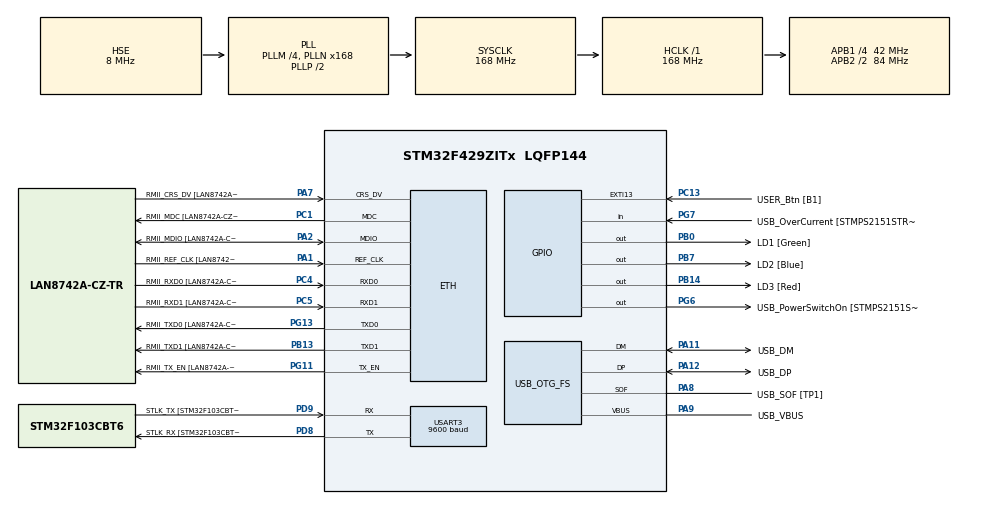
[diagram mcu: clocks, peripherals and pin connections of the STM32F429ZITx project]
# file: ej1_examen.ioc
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ETH.MediaInterface=HAL_ETH_RMII_MODE
ETH.PHY_Name=LAN8742A_PHY_ADDRESS
ETH.PHY_Value=0
ETH.PhyAddress=0
Mcu.Family=STM32F4
Mcu.Name=STM32F429ZITx
Mcu.Package=LQFP144
NVIC.PriorityGroup=NVIC_PRIORITYGROUP_4
PA1.GPIO_Label=RMII_REF_CLK [LAN8742A-CZ-TR_REFCLK0]
PA1.Mode=RMII
PA1.Signal=ETH_REF_CLK
PA10.GPIO_Label=USB_ID
PA10.Signal=USB_OTG_FS_ID
PA11.GPIO_Label=USB_DM
PA11.Mode=Device_Only
PA11.Signal=USB_OTG_FS_DM
PA12.GPIO_Label=USB_DP
PA12.Mode=Device_Only
PA12.Signal=USB_OTG_FS_DP
PA13.GPIO_Label=TMS
PA13.Mode=Serial_Wire
PA13.Signal=SYS_JTMS-SWDIO
PA14.GPIO_Label=TCK
PA14.Mode=Serial_Wire
PA14.Signal=SYS_JTCK-SWCLK
PA2.GPIO_Label=RMII_MDIO [LAN8742A-CZ-TR_MDIO]
PA2.Mode=RMII
PA2.Signal=ETH_MDIO
PA7.GPIO_Label=RMII_CRS_DV [LAN8742A-CZ-TR_CRS_DV]
PA7.Mode=RMII
PA7.Signal=ETH_CRS_DV
PA8.GPIO_Label=USB_SOF [TP1]
PA8.Mode=Activate_SOF_FS
PA8.Signal=USB_OTG_FS_SOF
PA9.GPIO_Label=USB_VBUS
PA9.Mode=Activate_VBUS
PA9.Signal=USB_OTG_FS_VBUS
PB0.GPIO_Label=LD1 [Green]
PB0.Signal=GPIO_Output
PB13.GPIO_Label=RMII_TXD1 [LAN8742A-CZ-TR_TXD1]
PB13.Mode=RMII
PB13.Signal=ETH_TXD1
PB14.GPIO_Label=LD3 [Red]
PB14.Signal=GPIO_Output
PB7.GPIO_Label=LD2 [Blue]
PB7.Signal=GPIO_Output
PC1.GPIO_Label=RMII_MDC [LAN8742A-CZ-TR_MDC]
PC1.Mode=RMII
PC1.Signal=ETH_MDC
PC13.GPIO_Label=USER_Btn [B1]
PC13.Signal=GPXTI13
PC14/OSC32_IN.Mode=LSE-External-Oscillator
PC14/OSC32_IN.Signal=RCC_OSC32_IN
PC15/OSC32_OUT.Mode=LSE-External-Oscillator
PC15/OSC32_OUT.Signal=RCC_OSC32_OUT
PC4.GPIO_Label=RMII_RXD0 [LAN8742A-CZ-TR_RXD0]
PC4.Mode=RMII
PC4.Signal=ETH_RXD0
PC5.GPIO_Label=RMII_RXD1 [LAN8742A-CZ-TR_RXD1]
PC5.Mode=RMII
PC5.Signal=ETH_RXD1
PD8.GPIO_Label=STLK_RX [STM32F103CBT6_PA3]
PD8.Mode=Asynchronous
PD8.Signal=USART3_TX
PD9.GPIO_Label=STLK_TX [STM32F103CBT6_PA2]
PD9.Mode=Asynchronous
PD9.Signal=USART3_RX
PG11.GPIO_Label=RMII_TX_EN [LAN8742A-CZ-TR_TXEN]
PG11.Mode=RMII
PG11.Signal=ETH_TX_EN
PG13.GPIO_Label=RMII_TXD0 [LAN8742A-CZ-TR_TXD0]
PG13.Mode=RMII
PG13.Signal=ETH_TXD0
PG6.GPIO_Label=USB_PowerSwitchOn [STMPS2151STR_EN]
PG6.Signal=GPIO_Output
PG7.GPIO_Label=USB_OverCurrent [STMPS2151STR_FAULT]
PG7.Signal=GPIO_Input
PH0/OSC_IN.GPIO_Label=MCO [STM32F103CBT6_PA8]
PH0/OSC_IN.Mode=HSE-External-Clock-Source
PH0/OSC_IN.Signal=RCC_OSC_IN
PH1/OSC_OUT.Mode=HSE-External-Clock-Source
PH1/OSC_OUT.Signal=RCC_OSC_OUT
ProjectManager.HeapSize=0x200
ProjectManager.StackSize=0x400
ProjectManager.TargetToolchain=STM32CubeIDE
RCC.48MHZClocksFreq_Value=48000000
RCC.AHBFreq_Value=168000000
RCC.APB1CLKDivider=RCC_HCLK_DIV4
RCC.APB1Freq_Value=42000000
RCC.APB1TimFreq_Value=84000000
RCC.APB2CLKDivider=RCC_HCLK_DIV2
RCC.APB2Freq_Value=84000000
RCC.APB2TimCLKDivider=2
RCC.APB2TimFreq_Value=168000000
RCC.CortexFreq_Value=168000000
RCC.HCLKFreq_Value=168000000
RCC.HSE_VALUE=8000000
RCC.HSI_VALUE=16000000
RCC.PLLM=4
RCC.PLLMUL=RCC_PLL_MUL9
RCC.PLLN=168
RCC.PLLQ=7
RCC.PRESCALERUSB=RCC_USBCLKSOURCE_PLL_DIV1_5
RCC.SYSCLKFreq_VALUE=168000000
RCC.SYSCLKSource=RCC_SYSCLKSOURCE_PLLCLK
RCC.SYSCLKSourceVirtual=RCC_SYSCLKSOURCE_PLLCLK
RCC.USBFreq_Value=48000000
RCC.VCOOutputFreq_Value=336000000
USART3.BaudRate=9600
USART3.VirtualMode=VM_ASYNC
USB_OTG_FS.VirtualMode=Device_Only
board=NUCLEO-F429ZI

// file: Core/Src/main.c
/* USER CODE BEGIN Header */
/**
  ******************************************************************************
  * @file           : main.c
  * @brief          : Main program body
  ******************************************************************************
  * @attention
  *
  * Copyright (c) 2025 STMicroelectronics.
  * All rights reserved.
  *
  * This software is licensed under terms that can be found in the LICENSE file
  * in the root directory of this software component.
  * If no LICENSE file comes with this software, it is provided AS-IS.
  *
  ******************************************************************************
  */
/* USER CODE END Header */
#include "main.h"
#include "string.h"

/* USER CODE BEGIN PD */
#define DELAY 100
/* USER CODE END PD */

ETH_TxPacketConfig TxConfig;
ETH_DMADescTypeDef  DMARxDscrTab[ETH_RX_DESC_CNT]; /* Ethernet Rx DMA Descriptors */
ETH_DMADescTypeDef  DMATxDscrTab[ETH_TX_DESC_CNT]; /* Ethernet Tx DMA Descriptors */

ETH_HandleTypeDef heth;

UART_HandleTypeDef huart3;

PCD_HandleTypeDef hpcd_USB_OTG_FS;

void SystemClock_Config(void);
static void MX_GPIO_Init(void);
static void MX_ETH_Init(void);
static void MX_USART3_UART_Init(void);
static void MX_USB_OTG_FS_PCD_Init(void);

int main(void)
{

  /* MCU Configuration--------------------------------------------------------*/

  /* Reset of all peripherals, Initializes the Flash interface and the Systick. */
  HAL_Init();

  /* Configure the system clock */
  SystemClock_Config();

  /* Initialize all configured peripherals */
  MX_GPIO_Init();
  MX_ETH_Init();
  MX_USART3_UART_Init();
  MX_USB_OTG_FS_PCD_Init();
  /* USER CODE BEGIN 2 */
  int contador = -1;
  int button_pressed = -1;
  int last_contador = -1;
  uint8_t numero[]=" El numero es: ";
  uint8_t factorial[]=" Su Factorial es: \n\r";
  /* USER CODE END 2 */

  /* Infinite loop */
  /* USER CODE BEGIN WHILE */
  while (1)
  {
	  if (HAL_GPIO_ReadPin(GPIOC, GPIO_PIN_13) == GPIO_PIN_RESET) {
	  	if (!button_pressed) {
	  		contador++;
	  		HAL_Delay(DELAY);
	  		if (contador > 6) {
	  			contador = 0;
	  		}
	  		button_pressed = 1;
	  	}
	  } else {
	  	button_pressed = 0;
	  }
	  // Solo ejecutar si hay un cambio en el contador
	  if (contador != last_contador) {
		  last_contador = contador; // Actualiza el último estado impreso
		  switch (contador) {
		  	  case 0:
	  			  HAL_UART_Transmit(&huart3, numero, strlen(numero), HAL_MAX_DELAY);
	  			  print_number(contador);
	  			  HAL_UART_Transmit(&huart3, factorial, strlen(factorial), HAL_MAX_DELAY);
	  			  mostrar_en_leds(contador);
	  			  print_factorial(contador);
	  			  break;
		  	  case 1:
	  			  HAL_UART_Transmit(&huart3, numero, strlen(numero), HAL_MAX_DELAY);
	  			  print_number(contador);
	  			  HAL_UART_Transmit(&huart3, factorial, strlen(factorial), HAL_MAX_DELAY);
	  			  print_factorial(contador);
	  			  mostrar_en_leds(contador);
	  			  break;
		  	  case 2:
	  			  HAL_UART_Transmit(&huart3, numero, strlen(numero), HAL_MAX_DELAY);
	  			  print_number(contador);
	  			  HAL_UART_Transmit(&huart3, factorial, strlen(factorial), HAL_MAX_DELAY);
	  			  print_factorial(contador);
	  			  mostrar_en_leds(contador);
	  			  break;
		  	  case 3:
	  			  HAL_UART_Transmit(&huart3, numero, strlen(numero), HAL_MAX_DELAY);
	  			  print_number(contador);
	  			  HAL_UART_Transmit(&huart3, factorial, strlen(factorial), HAL_MAX_DELAY);
	  			  print_factorial(contador);
	  			  mostrar_en_leds(contador);
	  			  break;
		  	  case 4:
	  			  HAL_UART_Transmit(&huart3, numero, strlen(numero), HAL_MAX_DELAY);
	  			  print_number(contador);
	  			  HAL_UART_Transmit(&huart3, factorial, strlen(factorial), HAL_MAX_DELAY);
	  			  print_factorial(contador);
	  			  mostrar_en_leds(contador);
	  			  break;
		  	  case 5:
	  			  HAL_UART_Transmit(&huart3, numero, strlen(numero), HAL_MAX_DELAY);
	  			  print_number(contador);
	  			  HAL_UART_Transmit(&huart3, factorial, strlen(factorial), HAL_MAX_DELAY);
	  			  print_factorial(contador);
	  			  mostrar_en_leds(contador);
	  			  break;
		  	  case 6:
	  			  HAL_UART_Transmit(&huart3, numero, strlen(numero), HAL_MAX_DELAY);
	  			  print_number(contador);
	  			  HAL_UART_Transmit(&huart3, factorial, strlen(factorial), HAL_MAX_DELAY);
	  			  print_factorial(contador);
	  			  mostrar_en_leds(contador);
	  			  break;
		  }
	  	}

    /* USER CODE END WHILE */

  }
}

void SystemClock_Config(void)
{
  RCC_OscInitTypeDef RCC_OscInitStruct = {0};
  RCC_ClkInitTypeDef RCC_ClkInitStruct = {0};

  /** Configure the main internal regulator output voltage
  */
  __HAL_RCC_PWR_CLK_ENABLE();
  __HAL_PWR_VOLTAGESCALING_CONFIG(PWR_REGULATOR_VOLTAGE_SCALE1);

  /** Initializes the RCC Oscillators according to the specified parameters
  * in the RCC_OscInitTypeDef structure.
  */
  RCC_OscInitStruct.OscillatorType = RCC_OSCILLATORTYPE_HSE;
  RCC_OscInitStruct.HSEState = RCC_HSE_BYPASS;
  RCC_OscInitStruct.PLL.PLLState = RCC_PLL_ON;
  RCC_OscInitStruct.PLL.PLLSource = RCC_PLLSOURCE_HSE;
  RCC_OscInitStruct.PLL.PLLM = 4;
  RCC_OscInitStruct.PLL.PLLN = 168;
  RCC_OscInitStruct.PLL.PLLP = RCC_PLLP_DIV2;
  RCC_OscInitStruct.PLL.PLLQ = 7;
  if (HAL_RCC_OscConfig(&RCC_OscInitStruct) != HAL_OK)
  {
    Error_Handler();
  }

  /** Initializes the CPU, AHB and APB buses clocks
  */
  RCC_ClkInitStruct.ClockType = RCC_CLOCKTYPE_HCLK|RCC_CLOCKTYPE_SYSCLK
                              |RCC_CLOCKTYPE_PCLK1|RCC_CLOCKTYPE_PCLK2;
  RCC_ClkInitStruct.SYSCLKSource = RCC_SYSCLKSOURCE_PLLCLK;
  RCC_ClkInitStruct.AHBCLKDivider = RCC_SYSCLK_DIV1;
  RCC_ClkInitStruct.APB1CLKDivider = RCC_HCLK_DIV4;
  RCC_ClkInitStruct.APB2CLKDivider = RCC_HCLK_DIV2;

  if (HAL_RCC_ClockConfig(&RCC_ClkInitStruct, FLASH_LATENCY_5) != HAL_OK)
  {
    Error_Handler();
  }
}

static void MX_ETH_Init(void)
{

   static uint8_t MACAddr[6];

  heth.Instance = ETH;
  MACAddr[0] = 0x00;
  MACAddr[1] = 0x80;
  MACAddr[2] = 0xE1;
  MACAddr[3] = 0x00;
  MACAddr[4] = 0x00;
  MACAddr[5] = 0x00;
  heth.Init.MACAddr = &MACAddr[0];
  heth.Init.MediaInterface = HAL_ETH_RMII_MODE;
  heth.Init.TxDesc = DMATxDscrTab;
  heth.Init.RxDesc = DMARxDscrTab;
  heth.Init.RxBuffLen = 1524;

  if (HAL_ETH_Init(&heth) != HAL_OK)
  {
    Error_Handler();
  }

  memset(&TxConfig, 0 , sizeof(ETH_TxPacketConfig));
  TxConfig.Attributes = ETH_TX_PACKETS_FEATURES_CSUM | ETH_TX_PACKETS_FEATURES_CRCPAD;
  TxConfig.ChecksumCtrl = ETH_CHECKSUM_IPHDR_PAYLOAD_INSERT_PHDR_CALC;
  TxConfig.CRCPadCtrl = ETH_CRC_PAD_INSERT;

}

static void MX_USART3_UART_Init(void)
{

  huart3.Instance = USART3;
  huart3.Init.BaudRate = 9600;
  huart3.Init.WordLength = UART_WORDLENGTH_8B;
  huart3.Init.StopBits = UART_STOPBITS_1;
  huart3.Init.Parity = UART_PARITY_NONE;
  huart3.Init.Mode = UART_MODE_TX_RX;
  huart3.Init.HwFlowCtl = UART_HWCONTROL_NONE;
  huart3.Init.OverSampling = UART_OVERSAMPLING_16;
  if (HAL_UART_Init(&huart3) != HAL_OK)
  {
    Error_Handler();
  }

}

static void MX_USB_OTG_FS_PCD_Init(void)
{

  hpcd_USB_OTG_FS.Instance = USB_OTG_FS;
  hpcd_USB_OTG_FS.Init.dev_endpoints = 4;
  hpcd_USB_OTG_FS.Init.speed = PCD_SPEED_FULL;
  hpcd_USB_OTG_FS.Init.dma_enable = DISABLE;
  hpcd_USB_OTG_FS.Init.phy_itface = PCD_PHY_EMBEDDED;
  hpcd_USB_OTG_FS.Init.Sof_enable = ENABLE;
  hpcd_USB_OTG_FS.Init.low_power_enable = DISABLE;
  hpcd_USB_OTG_FS.Init.lpm_enable = DISABLE;
  hpcd_USB_OTG_FS.Init.vbus_sensing_enable = ENABLE;
  hpcd_USB_OTG_FS.Init.use_dedicated_ep1 = DISABLE;
  if (HAL_PCD_Init(&hpcd_USB_OTG_FS) != HAL_OK)
  {
    Error_Handler();
  }

}

static void MX_GPIO_Init(void)
{
  GPIO_InitTypeDef GPIO_InitStruct = {0};

  /* GPIO Ports Clock Enable */
  __HAL_RCC_GPIOC_CLK_ENABLE();
  __HAL_RCC_GPIOH_CLK_ENABLE();
  __HAL_RCC_GPIOA_CLK_ENABLE();
  __HAL_RCC_GPIOB_CLK_ENABLE();
  __HAL_RCC_GPIOD_CLK_ENABLE();
  __HAL_RCC_GPIOG_CLK_ENABLE();

  /*Configure GPIO pin Output Level */
  HAL_GPIO_WritePin(GPIOB, LD1_Pin|LD3_Pin|LD2_Pin, GPIO_PIN_RESET);

  /*Configure GPIO pin Output Level */
  HAL_GPIO_WritePin(USB_PowerSwitchOn_GPIO_Port, USB_PowerSwitchOn_Pin, GPIO_PIN_RESET);

  /*Configure GPIO pin : USER_Btn_Pin */
  GPIO_InitStruct.Pin = USER_Btn_Pin;
  GPIO_InitStruct.Mode = GPIO_MODE_IT_RISING;
  GPIO_InitStruct.Pull = GPIO_NOPULL;
  HAL_GPIO_Init(USER_Btn_GPIO_Port, &GPIO_InitStruct);

  /*Configure GPIO pins : LD1_Pin LD3_Pin LD2_Pin */
  GPIO_InitStruct.Pin = LD1_Pin|LD3_Pin|LD2_Pin;
  GPIO_InitStruct.Mode = GPIO_MODE_OUTPUT_PP;
  GPIO_InitStruct.Pull = GPIO_NOPULL;
  GPIO_InitStruct.Speed = GPIO_SPEED_FREQ_LOW;
  HAL_GPIO_Init(GPIOB, &GPIO_InitStruct);

  /*Configure GPIO pin : USB_PowerSwitchOn_Pin */
  GPIO_InitStruct.Pin = USB_PowerSwitchOn_Pin;
  GPIO_InitStruct.Mode = GPIO_MODE_OUTPUT_PP;
  GPIO_InitStruct.Pull = GPIO_NOPULL;
  GPIO_InitStruct.Speed = GPIO_SPEED_FREQ_LOW;
  HAL_GPIO_Init(USB_PowerSwitchOn_GPIO_Port, &GPIO_InitStruct);

  /*Configure GPIO pin : USB_OverCurrent_Pin */
  GPIO_InitStruct.Pin = USB_OverCurrent_Pin;
  GPIO_InitStruct.Mode = GPIO_MODE_INPUT;
  GPIO_InitStruct.Pull = GPIO_NOPULL;
  HAL_GPIO_Init(USB_OverCurrent_GPIO_Port, &GPIO_InitStruct);

}

/* USER CODE BEGIN 4 */
void print_number(int num) {

	char buffer[6];  // Soporta hasta 5 dígitos + '\0'
    int index = 0;

    num = num + 1;  // Sumar 1 al número antes de procesarlo
    do {
        buffer[index++] = (num % 10) + '0';
        num /= 10;
    } while (num > 0);

    // Invertir el buffer para obtener el número en el orden correcto
    for (int i = 0, j = index - 1; i < j; i++, j--) {
        char temp = buffer[i];
        buffer[i] = buffer[j];
        buffer[j] = temp;
    }

    buffer[index] = '\0';  // Terminar el string

    // Enviar el número por UART
    HAL_UART_Transmit(&huart3, (uint8_t*)buffer, index, HAL_MAX_DELAY);
    HAL_UART_Transmit(&huart3, (uint8_t*)"\r\n", 2, HAL_MAX_DELAY);
}

void print_factorial(int num) {
    int resultado = 1;
    for (int i = 1; i <= num+1; i++) {
        resultado *= i;
    }
    num = resultado;

    char buffer[6];  // Espacio para hasta 5 dígitos más el carácter nulo '\0'
    int index = 0;
    // Extraer los dígitos de num y almacenarlos en buffer en orden inverso
    do {
        buffer[index++] = (num % 10) + '0';  // Extraemos el último dígito y lo convertimos a carácter
        num = num / 10;  // Eliminamos el último dígito dividiendo entre 10
    } while (num > 0);  // Continuamos hasta que el número se reduzca a 0

    // Invertir el orden de los dígitos en buffer para obtener el número correcto
    for (int i = 0, j = index - 1; i < j; i++, j--) {
        char temp = buffer[i];
        buffer[i] = buffer[j];
        buffer[j] = temp;
    }
    buffer[index] = '\0';  // Agregar el carácter nulo para finalizar la cadena

    // Enviar el número por UART
    HAL_UART_Transmit(&huart3, (uint8_t*)buffer, index, HAL_MAX_DELAY);

    // Enviar nueva línea
    HAL_UART_Transmit(&huart3, (uint8_t*)"\r\n", 2, HAL_MAX_DELAY);

}

void mostrar_en_leds(uint8_t numero) {
	numero = numero + 1;
    HAL_GPIO_WritePin(GPIOB, LD1_Pin, (numero >> 0) & 0x01); // Bit 0
    HAL_GPIO_WritePin(GPIOB, LD2_Pin, (numero >> 1) & 0x01); // Bit 1
    HAL_GPIO_WritePin(GPIOB, LD3_Pin, (numero >> 2) & 0x01); // Bit 2
}
/* USER CODE END 4 */

void Error_Handler(void)
{
  __disable_irq();
  while (1)
  {
  }
}
